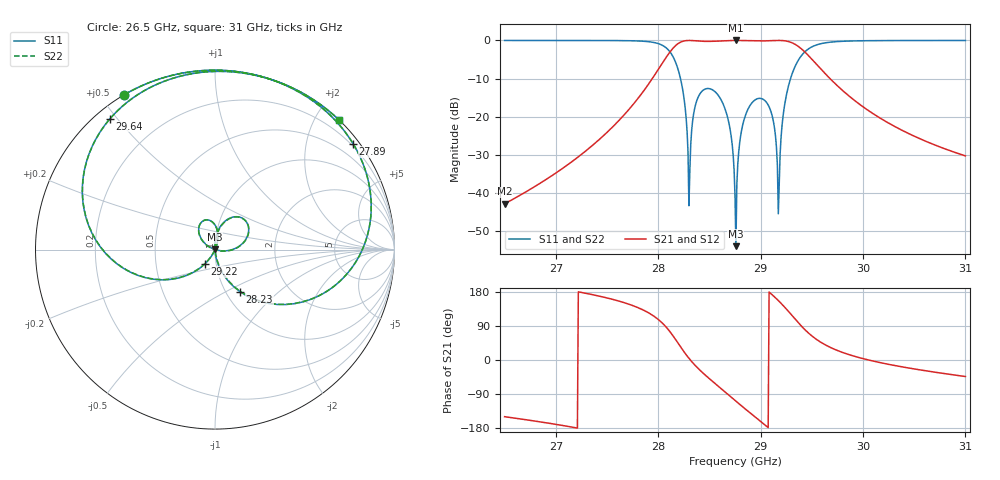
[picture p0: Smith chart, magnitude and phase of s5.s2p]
! Touchstone file from project Ka_PF
! Exported from HFSS 15.0.0
! Variables:
!  AA = 0.34in
!  BB = 0.145in
!  M01 = 0.164in
!  M11 = 0.2124in
!  M12 = 0.1158in
!  M22 = 0.2339in
!  PL = 0.3in
!  RR = 0.035in
!  TT = 0.04in
!Data is not renormalized
# GHZ S DB
! Modal data exported
! Port[1] = 1:1
! Port[2] = 2:1
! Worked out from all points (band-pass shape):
!   501 points, 26.5 GHz to 31 GHz, reference per port
!   highest |S21| = 0.00 dB at 28.76 GHz (marker M1); lowest = -42.9 dB at 26.5 GHz (marker M2)
!   |S21| within 3 dB of the highest: 28.12 GHz to 29.43 GHz (1.315 GHz wide, 4.57 % of centre)
!   lowest |S11| = -54.0 dB at 28.76 GHz (marker M3), VSWR 1.00
!   |S11| at or under -10 dB: 28.22 GHz to 29.29 GHz (1.075 GHz wide, 3.74 % of centre)
!   |S22| runs from -54.0 to 0.0 dB; largest |S21 - S12| = 1.7e-14
!   S11 on the Smith chart (normalised r, x): 26.5 GHz: 0.00, +0.57; 27.89 GHz: 0.15, +2.94; 28.23 GHz: 1.16, -0.59; 29.22 GHz: 0.88, -0.14; 29.64 GHz: 0.04, +0.48; 31 GHz: 0.00, +2.33
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26.5  -0.00 120.4  -42.91 -149.6  -42.91 -149.6  -0.00 120.3
! Gamma ! -0 419.682085929345 -0 419.682060555001
! Port Impedance 262.307062487439 0 262.306914668162 0
27.256  -0.00 88.0  -29.81 178.0  -29.81 178.0  -0.00 87.9
27.886  -0.27 37.5  -12.21 127.4  -12.21 127.4  -0.27 37.4
28.003  -0.85 16.4  -7.52 106.4  -7.52 106.4  -0.85 16.4
28.138  -3.93 -23.7  -2.25 66.3  -2.25 66.3  -3.93 -23.6
28.228  -11.31 -59.3  -0.33 30.9  -0.33 30.9  -11.31 -58.9
28.3  -43.41 -96.0  -0.00 4.5  -0.00 4.5  -43.41 -74.9
28.399  -14.42 65.7  -0.16 -24.7  -0.16 -24.7  -14.42 65.0
28.624  -16.11 12.6  -0.11 -77.8  -0.11 -77.8  -16.11 11.9
28.705  -23.78 -5.7  -0.02 -96.3  -0.02 -96.3  -23.78 -7.0
28.75  -40.75 -12.3  -0.00 -106.6  -0.00 -106.6  -40.75 -21.0
28.759  -54.04 141.4  -0.00 -108.7  -0.00 -108.7  -54.04 -178.8
28.813  -23.79 148.6  -0.02 -120.9  -0.02 -120.9  -23.79 149.6
28.894  -17.19 131.0  -0.08 -138.8  -0.08 -138.8  -17.19 131.3
29.083  -17.43 89.2  -0.08 179.3  -0.08 179.3  -17.43 89.5
29.173  -45.53 61.7  -0.00 156.9  -0.00 156.9  -45.53 72.1
29.218  -20.17 -125.2  -0.04 144.4  -0.04 144.4  -20.17 -125.9
29.344  -6.41 -164.0  -1.13 105.9  -1.13 105.9  -6.41 -164.2
29.506  -1.61 152.5  -5.08 62.4  -5.08 62.4  -1.61 152.4
29.641  -0.58 128.7  -9.00 38.7  -9.00 38.7  -0.58 128.6
30.253  -0.03 78.4  -21.75 -11.6  -21.75 -11.6  -0.03 78.3
31  -0.00 46.5  -30.33 -43.6  -30.33 -43.6  -0.00 46.4
